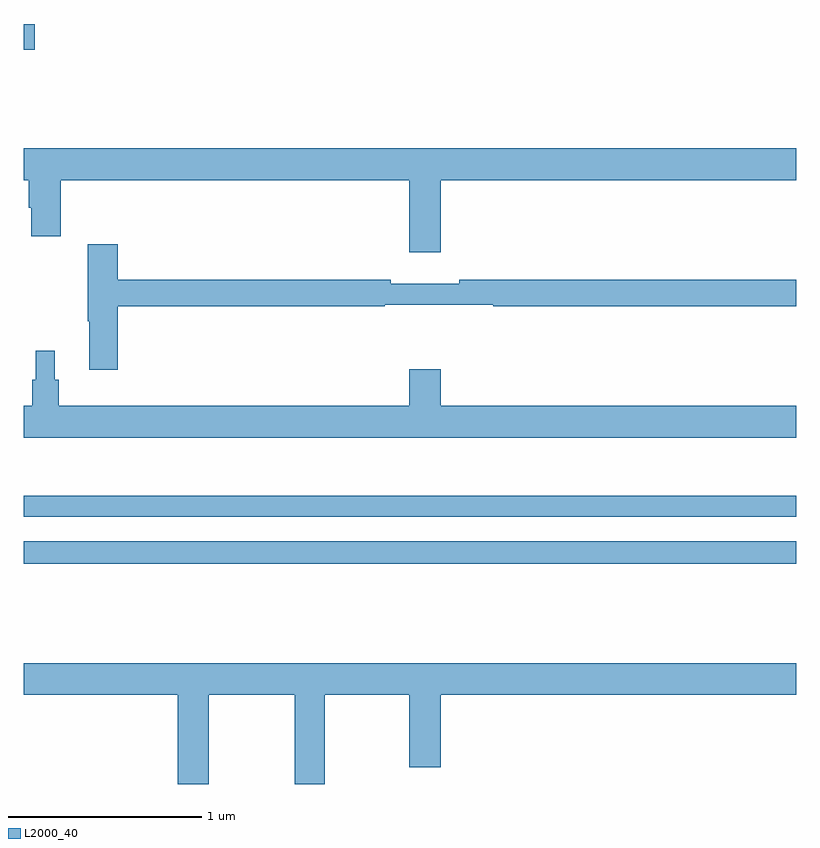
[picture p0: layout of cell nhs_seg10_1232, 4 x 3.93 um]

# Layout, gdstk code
import gdstk
lib = gdstk.Library(unit=1e-6, precision=1e-09)
def R(c, l, rs):  # rectangles x0, y0, x1, y1
    for r in rs: c.add(gdstk.rectangle(r[:2], r[2:], *l))
def P(c, l, *ps):  # polygons
    for p in ps: c.add(gdstk.Polygon(p, *l))
L2000_40 = (2000, 40)

nhs_seg10_1232 = lib.new_cell('nhs_seg10_1232')
R(nhs_seg10_1232, L2000_40, [(175,1255.708,179,1255.824), (175,1255.95,179,1256.059), (175,1258.367,175.057,1258.5)])
P(nhs_seg10_1232, L2000_40, [(177.16,1257.692),(179,1257.692),(179,1257.856),(175,1257.856),(175,1257.692),(175.028,1257.692),(175.028,1257.55),(175.04,1257.55),(175.04,1257.402),(175.193,1257.402),(175.193,1257.692),(176.996,1257.692),(176.996,1257.318),(177.16,1257.318)],
  [(175.487,1257.04),(176.87,1257.04),(176.87,1257.048),(177.431,1257.048),(177.431,1257.04),(179,1257.04),(179,1257.176),(177.256,1257.176),(177.256,1257.157),(176.9,1257.157),(176.9,1257.176),(175.487,1257.176),(175.487,1257.361),(175.333,1257.361),(175.333,1256.963),(175.34,1256.963),(175.34,1256.712),(175.487,1256.712)],
  [(179,1256.524),(177.16,1256.524),(177.16,1256.713),(176.996,1256.713),(176.996,1256.524),(175.181,1256.524),(175.181,1256.658),(175.162,1256.658),(175.162,1256.809),(175.064,1256.809),(175.064,1256.658),(175.045,1256.658),(175.045,1256.524),(175,1256.524),(175,1256.36),(179,1256.36)],
  [(175.959,1255.028),(176.404,1255.028),(176.404,1254.567),(176.559,1254.567),(176.559,1255.028),(176.996,1255.028),(176.996,1254.654),(177.16,1254.654),(177.16,1255.028),(179,1255.028),(179,1255.192),(175,1255.192),(175,1255.028),(175.799,1255.028),(175.799,1254.567),(175.959,1254.567)])

lib.write_gds('nhs_seg10_1232.gds')
